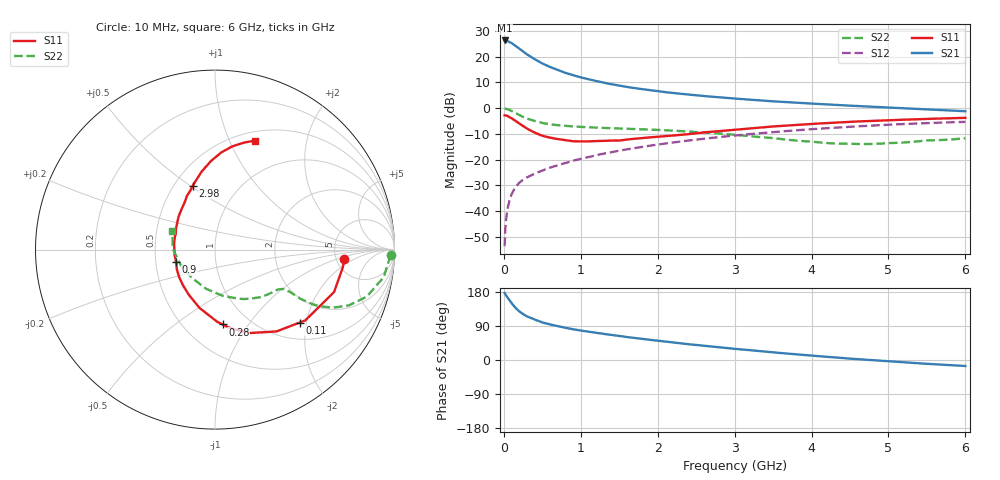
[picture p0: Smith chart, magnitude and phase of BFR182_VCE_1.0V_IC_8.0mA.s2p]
! Infineon Technologies  Discrete & RF Semiconductors
! BFR182
! VCE =  1.0 V,  IC =  8.0 mA
! Common Emitter S-Parameters:  Nov 2015
# GHz  S  MA  R  50
!  f  S11  S21  S12  S22
! GHz  MAG  ANG  MAG  ANG  MAG  ANG  MAG  ANG
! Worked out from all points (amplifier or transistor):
!   210 points, 10 MHz to 6 GHz, reference 50 ohm
!   highest |S21| = 26.2 dB at 10 MHz (marker M1)
!   |S21| within 3 dB of that: start of sweep to 193.3 MHz
!   unconditionally stable (mu >= 1): 765 MHz to 2.905 GHz
!   at 185 MHz: K = 0.47, MSG = 26.5 dB, |S12| = -29.5 dB
!   at 1.52 GHz: K = 1.08, MAG = 10.8 dB, |S12| = -16.4 dB
!   at 6 GHz: K = 0.92, MSG = 2.1 dB, |S12| = -5.3 dB
!   S11 on the Smith chart (normalised r, x): 10 MHz: 5.93, -1.28; 110 MHz: 1.38, -1.83; 280 MHz: 0.76, -0.76; 900 MHz: 0.64, -0.09; 2.98 GHz: 0.62, +0.51; 6 GHz: 0.60, +1.25
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0.01  0.7228 -4.1  20.49 176.9  0.0021 94.1  0.9789 -1.9
0.02  0.7186 -8.1  20.13 173.4  0.0048 85.9  0.9696 -3.9
0.05  0.7042 -19.6  19.89 164.1  0.0116 80.5  0.9523 -9.3
0.1  0.6393 -38.1  18.32 149.9  0.0212 72.6  0.8857 -17.2
0.11  0.6223 -40.8  17.82 147.7  0.0227 71.3  0.8693 -18.2
0.15  0.5703 -53.1  16.12 137.7  0.029 67.3  0.8068 -22.7
0.2  0.5048 -67.0  14.29 128.4  0.0355 64.8  0.7348 -26.1
0.24  0.4588 -76.1  12.83 122.5  0.0397 63.0  0.6845 -27.7
0.28  0.4191 -84.2  11.59 117.6  0.0434 62.5  0.6438 -28.8
0.3  0.4014 -88.4  11.02 115.1  0.0452 62.5  0.625 -29.2
0.4  0.3364 -104.8  8.894 106.4  0.0532 61.7  0.5593 -29.9
0.5  0.2911 -120.0  7.336 99.1  0.0615 62.3  0.5138 -29.7
0.7  0.2515 -142.7  5.47 89.0  0.0777 63.6  0.4654 -29.6
0.9  0.2273 -162.0  4.332 81.1  0.0955 64.3  0.4417 -30.0
1.02  0.2265 -172.7  3.877 77.1  0.1056 64.5  0.4306 -30.7
1.4  0.2355 161.6  2.899 66.1  0.1399 64.0  0.4075 -34.3
2.02  0.2799 134.8  2.107 50.5  0.198 60.2  0.3768 -43.1
2.98  0.3773 109.2  1.54 29.8  0.2915 51.5  0.3068 -63.4
3.1  0.3909 106.8  1.493 27.7  0.303 50.1  0.2947 -66.8
4.1  0.5029 91.3  1.2 10.0  0.3988 38.6  0.216 -107.8
5.1  0.5885 79.5  1.011 -4.6  0.4839 26.1  0.2116 -162.3
6  0.6467 69.9  0.869 -15.8  0.5404 13.6  0.2587 156.7
